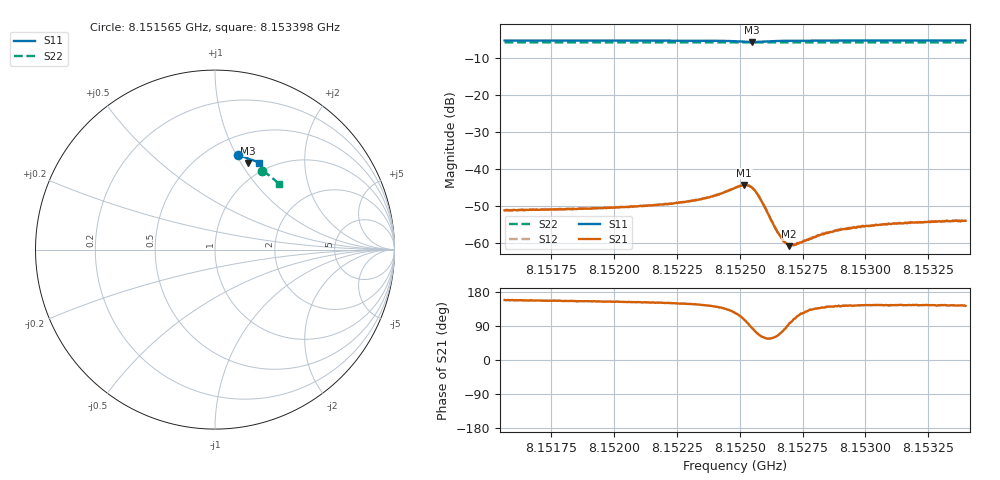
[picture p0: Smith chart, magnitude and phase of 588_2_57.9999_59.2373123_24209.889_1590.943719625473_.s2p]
#  HZ  S  RI  R  50.00
! Rohde & Schwarz Vector Network Analyzer
! Rohde-Schwarz,ZNB20-2Port,1311601062101988,3.16
! Created: UTC 3/21/2024, 1:16:42 AM
! freq[Hz]  re:S11  im:S11  re:S21  im:S21  re:S12  im:S12  re:S22  im:S22
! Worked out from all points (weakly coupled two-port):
!   401 points, 8.151565 GHz to 8.153398 GHz, reference 50 ohm
!   highest |S21| = -44.28 dB at 8.152518 GHz (marker M1); lowest = -60.8 dB at 8.152697 GHz (marker M2)
!   lowest |S11| = -5.7 dB at 8.15255 GHz (marker M3), VSWR 3.14, Z = 40.8 + j53.6 ohm
!   |S11| at or under -10 dB: nowhere
!   |S22| runs from -5.8 to -5.8 dB; largest |S21 - S12| = 0.00011
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8.151565e9  0.1283 0.5245  -0.00258 0.00103  -0.00258 0.00108  0.2638 0.4392
8.151872e9  0.1497 0.5191  -0.00263 0.00123  -0.00265 0.00126  0.2804 0.4284
8.152179e9  0.1717 0.5123  -0.0029 0.00159  -0.00289 0.00164  0.2964 0.4171
8.1523348e9  0.1843 0.507  -0.00321 0.00212  -0.00317 0.00223  0.3043 0.411
8.1524173e9  0.1917 0.5017  -0.00342 0.00298  -0.00346 0.00305  0.3085 0.4074
8.1524815e9  0.1962 0.4924  -0.00318 0.00459  -0.00317 0.00462  0.3115 0.4047
8.1525181e9  0.1929 0.4843  -0.00177 0.00585  -0.0017 0.00589  0.313 0.4031
8.1525364e9  0.1878 0.4821  -0.000391 0.00597  -0.000379 0.006  0.3137 0.4024
8.1525502e9  0.1835 0.4827  0.000601 0.00553  0.000632 0.00557  0.3142 0.402
8.1525639e9  0.1802 0.4855  0.00137 0.00477  0.00142 0.00479  0.3148 0.4016
8.1525823e9  0.1782 0.4904  0.00171 0.00355  0.0018 0.00357  0.3158 0.401
8.1526418e9  0.1846 0.5005  0.000762 0.00139  0.000801 0.00142  0.3189 0.3991
8.1526647e9  0.1879 0.5015  0.000378 0.00116  0.000382 0.00112  0.3201 0.3981
8.1526831e9  0.1903 0.502  0.000106 0.00101  0.000103 0.000991  0.321 0.3973
8.1526968e9  0.1919 0.5021  -9.98e-05 0.000908  -6.93e-05 0.000969  0.3218 0.3968
8.1527106e9  0.1935 0.502  -0.000233 0.000942  -0.000232 0.000918  0.3224 0.3963
8.152738e9  0.1964 0.5021  -0.000496 0.000892  -0.000485 0.000876  0.3239 0.3951
8.1527884e9  0.2011 0.5011  -0.000805 0.000848  -0.000811 0.000881  0.3263 0.3931
8.1528389e9  0.2055 0.5  -0.00101 0.000887  -0.00101 0.000921  0.3289 0.391
8.152903e9  0.2106 0.4984  -0.00119 0.000938  -0.00125 0.000966  0.3319 0.3881
8.1530954e9  0.2244 0.4933  -0.00148 0.0011  -0.00146 0.00109  0.341 0.38
8.1533979e9  0.2443 0.4843  -0.0016 0.00121  -0.00163 0.00122  0.3548 0.3666
